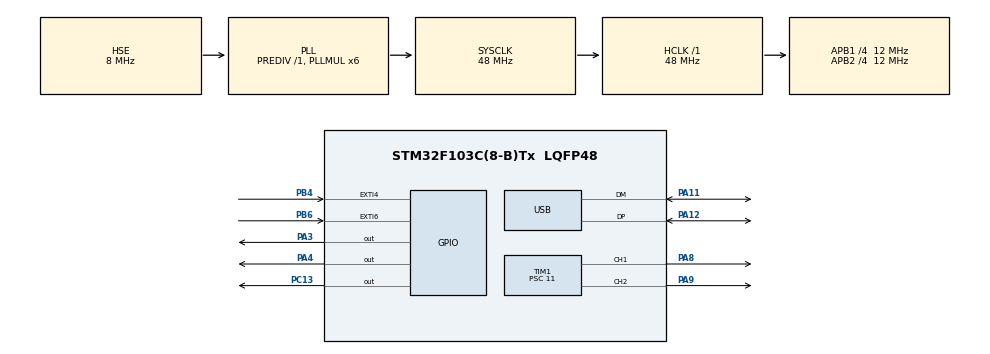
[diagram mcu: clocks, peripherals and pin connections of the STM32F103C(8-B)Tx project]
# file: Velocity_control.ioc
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Mcu.Family=STM32F1
Mcu.Name=STM32F103C(8-B)Tx
Mcu.Package=LQFP48
NVIC.EXTI4_IRQn=true\:0\:0\:false\:false\:true\:true\:true\:true
NVIC.EXTI9_5_IRQn=true\:0\:0\:false\:false\:true\:true\:true\:true
NVIC.PriorityGroup=NVIC_PRIORITYGROUP_4
NVIC.TIM3_IRQn=true\:2\:0\:true\:false\:true\:true\:true\:true
NVIC.TIM4_IRQn=true\:1\:0\:true\:false\:true\:true\:true\:true
NVIC.USB_LP_CAN1_RX0_IRQn=true\:0\:0\:false\:false\:true\:false\:true\:true
PA11.Mode=Device
PA11.Signal=USB_DM
PA12.Mode=Device
PA12.Signal=USB_DP
PA13.Mode=Serial_Wire
PA13.Signal=SYS_JTMS-SWDIO
PA14.Mode=Serial_Wire
PA14.Signal=SYS_JTCK-SWCLK
PA3.Signal=GPIO_Output
PA4.Signal=GPIO_Output
PA8.Signal=S_TIM1_CH1
PA9.Signal=S_TIM1_CH2
PB4.GPIO_ModeDefaultEXTI=GPIO_MODE_IT_RISING_FALLING
PB4.GPIO_PuPd=GPIO_PULLUP
PB4.Signal=GPXTI4
PB6.GPIO_ModeDefaultEXTI=GPIO_MODE_IT_RISING_FALLING
PB6.GPIO_PuPd=GPIO_PULLUP
PB6.Signal=GPXTI6
PC13-TAMPER-RTC.Signal=GPIO_Output
PD0-OSC_IN.Mode=HSE-External-Oscillator
PD0-OSC_IN.Signal=RCC_OSC_IN
PD1-OSC_OUT.Mode=HSE-External-Oscillator
PD1-OSC_OUT.Signal=RCC_OSC_OUT
ProjectManager.HeapSize=0x200
ProjectManager.StackSize=0x400
ProjectManager.TargetToolchain=MDK-ARM V5.32
RCC.AHBFreq_Value=48000000
RCC.APB1CLKDivider=RCC_HCLK_DIV4
RCC.APB1Freq_Value=12000000
RCC.APB1TimFreq_Value=24000000
RCC.APB2CLKDivider=RCC_HCLK_DIV4
RCC.APB2Freq_Value=12000000
RCC.APB2TimFreq_Value=24000000
RCC.HCLKFreq_Value=48000000
RCC.PLLMUL=RCC_PLL_MUL6
RCC.PLLSourceVirtual=RCC_PLLSOURCE_HSE
RCC.SYSCLKFreq_VALUE=48000000
RCC.SYSCLKSource=RCC_SYSCLKSOURCE_PLLCLK
RCC.USBFreq_Value=48000000
SH.S_TIM1_CH1.0=TIM1_CH1,PWM Generation1 CH1
SH.S_TIM1_CH2.0=TIM1_CH2,PWM Generation2 CH2
TIM1.Channel-PWM\ Generation1\ CH1=TIM_CHANNEL_1
TIM1.Channel-PWM\ Generation2\ CH2=TIM_CHANNEL_2
TIM1.Period=100
TIM1.Prescaler=11
TIM3.Period=4
TIM3.Prescaler=23999
TIM4.Period=9
TIM4.Prescaler=23999
USB_DEVICE.CLASS_NAME_FS=CDC
USB_DEVICE.VirtualMode=Cdc
USB_DEVICE.VirtualModeFS=Cdc_FS
VP_TIM3_VS_ClockSourceINT.Mode=Internal
VP_TIM4_VS_ClockSourceINT.Mode=Internal
VP_USB_DEVICE_VS_USB_DEVICE_CDC_FS.Mode=CDC_FS
board=custom

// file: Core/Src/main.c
/* USER CODE BEGIN Header */
/**
  ******************************************************************************
  * @file           : main.c
  * @brief          : Main program body
  ******************************************************************************
  * @attention
  *
  * Copyright (c) 2023 STMicroelectronics.
  * All rights reserved.
  *
  * This software is licensed under terms that can be found in the LICENSE file
  * in the root directory of this software component.
  * If no LICENSE file comes with this software, it is provided AS-IS.
  *
  ******************************************************************************
  */
/* USER CODE END Header */
#include "main.h"
#include "usb_device.h"

/* USER CODE BEGIN Includes */
#include "usbd_cdc_if.h"
#include "stdbool.h"
/* USER CODE END Includes */

/* USER CODE BEGIN PD */
#define UPDATE_PERIOD			0.005		/* Chu ki cap nhat: 5ms = ngat timer 4 */
#define PULSES_IN_ROUND		249.6		/* So xung tren 1 vong cua dong co = 13 xung x ti so truyen 19.2 */
/* USER CODE END PD */

TIM_HandleTypeDef htim1;
TIM_HandleTypeDef htim3;
TIM_HandleTypeDef htim4;

/* USER CODE BEGIN PV */
uint8_t buffer[64];
uint8_t run;
int16_t DesiredSpeed;
float DesiredVel;
char Rx_data[2];
char Rx_Buffer[20];
char Rx_indx;

int16_t pwm1;
int16_t pwm2;

/* Parameter of PIController */
float 		Kp 							= 0.321949254;				/* Ti le */
float 		Ki 							= 5.970149254;				/* Tich phan */
float 		Kd 							= 0.0;								/* Vi phan */
float			Kb 							= 18.54375863;				/* Dung cho Anti-windup */

int32_t 	UHiLim 					= 100;								/* Gioi han tren pwm */
int32_t 	ULoLim 					= 0;									/* Gioi han duoi pwm */

uint8_t 	PreviousState 	= 0;							/* Trang thai encoder chu ki truoc */
int16_t 	CountValue  		= 0;							/* Bien dem encoder => tinh vi tri */
int32_t 	PosCnt  				= 0;							/* Bien dem so vong quay => tinh vi tri */
uint16_t 	VelCnt      		= 0;							/* Bien dem encoder => tinh van toc */
uint16_t 	VelTemp      		= 0;							/* Bien dem encoder => tinh van toc */

/* Parameter of HAL_TIM_PeriodElapsedCallback */
float 		CurrVel 				= 0;	 		/* Van toc hien tai (Rad/s) */
int16_t 	CurrSpeed	 			= 0;	 		/* Van toc hien tai (RPM) */
uint8_t 	dir							= 0;			/* Chieu quay banh trai */
uint16_t 	tick							= 0;			/* Dung de dem cho timer 5 */

/* USER CODE END PV */

void SystemClock_Config(void);
static void MX_GPIO_Init(void);
static void MX_TIM1_Init(void);
static void MX_TIM3_Init(void);
static void MX_TIM4_Init(void);

/* USER CODE BEGIN 0 */

/* ======================================================================================= USB printf ======================================================================================= */
struct __FILE
{
  int handle;
  /* Whatever you require here. If the only file you are using is */
  /* standard output using printf() for debugging, no file handling */
  /* is required. */
};
/* FILE is typedef'd in stdio.h. */
FILE __stdout;
int fputc(int ch, FILE *f)
{
    while(!(CDC_Transmit_FS((uint8_t*)&ch, 1) == USBD_OK))
        ;
    return ch;
}
/* ======================================================================================= End USB printf ======================================================================================= */

/* ================================================================================ PI Controller +(Anti-windup) ================================================================================ */
int32_t PIController(float desired_val, float real_val, float gain, float Ki, float Kb, int uHiLim, int uLoLim)
{
		/* Controller values */
		static float err_reset;
		static float uI_p;
		float err, uP, uI;
		int uOut;

		/* Algorithm */
		err = (desired_val - real_val);
			/* Proportional */
		uP = gain * err;
			/* Integral (with Anti-windup) */
		uI = uI_p + (Ki * UPDATE_PERIOD *err) + Kb * UPDATE_PERIOD * err_reset;
			/* Integral part */
		uI_p = uI;
			/* Output control */
		uOut = (int)(uP + uI);
			/* Output saturation */
		if(uOut >= uHiLim)
		{
			err_reset = uHiLim - uOut;
			uOut = uHiLim;
		}
		else if(uOut <= uLoLim)
		{
			err_reset = uLoLim - uOut;
			uOut = uLoLim;
		}
		return uOut;
}
/* ============================================================================== End PI Controller +(Anti-windup) ============================================================================== */

/* ================================================================================ Motor Control ================================================================================ */
void MotorRot(int32_t pwmSet)
{
	if (pwmSet > 0) {
		HAL_GPIO_WritePin(GPIOA, GPIO_PIN_3, 1);
		HAL_GPIO_WritePin(GPIOA, GPIO_PIN_4, 1);
		__HAL_TIM_SetCompare(&htim1, TIM_CHANNEL_1, 0);
		__HAL_TIM_SetCompare(&htim1, TIM_CHANNEL_2, pwmSet);
	}
	else if (pwmSet < 0) {
		HAL_GPIO_WritePin(GPIOA, GPIO_PIN_3, 1);
		HAL_GPIO_WritePin(GPIOA, GPIO_PIN_4, 1);
		__HAL_TIM_SetCompare(&htim1, TIM_CHANNEL_1,-pwmSet);
		__HAL_TIM_SetCompare(&htim1, TIM_CHANNEL_2, 0);
	}
	else{
		HAL_GPIO_WritePin(GPIOA, GPIO_PIN_3, 0);
		HAL_GPIO_WritePin(GPIOA, GPIO_PIN_4, 0);
	}

}
/* ============================================================================== End Motor Control ============================================================================== */

/* USER CODE END 0 */

int main(void)
{

  /* MCU Configuration--------------------------------------------------------*/

  /* Reset of all peripherals, Initializes the Flash interface and the Systick. */
  HAL_Init();

  /* Configure the system clock */
  SystemClock_Config();

  /* Initialize all configured peripherals */
  MX_GPIO_Init();
  MX_TIM1_Init();
  MX_TIM3_Init();
  MX_TIM4_Init();
  MX_USB_DEVICE_Init();
  /* USER CODE BEGIN 2 */
	HAL_TIM_PWM_Start(&htim1, TIM_CHANNEL_1);	// khoi tao timer 1
	HAL_TIM_PWM_Start(&htim1, TIM_CHANNEL_2);	// khoi tao timer 1
	HAL_TIM_Base_Start_IT(&htim3);						// khoi tao timer 3
	HAL_TIM_Base_Start_IT(&htim4);						// khoi tao timer 4

  /* USER CODE END 2 */

  /* Infinite loop */
  while (1)
  {

  }
}

void SystemClock_Config(void)
{
  RCC_OscInitTypeDef RCC_OscInitStruct = {0};
  RCC_ClkInitTypeDef RCC_ClkInitStruct = {0};
  RCC_PeriphCLKInitTypeDef PeriphClkInit = {0};

  /** Initializes the RCC Oscillators according to the specified parameters
  * in the RCC_OscInitTypeDef structure.
  */
  RCC_OscInitStruct.OscillatorType = RCC_OSCILLATORTYPE_HSE;
  RCC_OscInitStruct.HSEState = RCC_HSE_ON;
  RCC_OscInitStruct.HSEPredivValue = RCC_HSE_PREDIV_DIV1;
  RCC_OscInitStruct.HSIState = RCC_HSI_ON;
  RCC_OscInitStruct.PLL.PLLState = RCC_PLL_ON;
  RCC_OscInitStruct.PLL.PLLSource = RCC_PLLSOURCE_HSE;
  RCC_OscInitStruct.PLL.PLLMUL = RCC_PLL_MUL6;
  if (HAL_RCC_OscConfig(&RCC_OscInitStruct) != HAL_OK)
  {
    Error_Handler();
  }

  /** Initializes the CPU, AHB and APB buses clocks
  */
  RCC_ClkInitStruct.ClockType = RCC_CLOCKTYPE_HCLK|RCC_CLOCKTYPE_SYSCLK
                              |RCC_CLOCKTYPE_PCLK1|RCC_CLOCKTYPE_PCLK2;
  RCC_ClkInitStruct.SYSCLKSource = RCC_SYSCLKSOURCE_PLLCLK;
  RCC_ClkInitStruct.AHBCLKDivider = RCC_SYSCLK_DIV1;
  RCC_ClkInitStruct.APB1CLKDivider = RCC_HCLK_DIV4;
  RCC_ClkInitStruct.APB2CLKDivider = RCC_HCLK_DIV4;

  if (HAL_RCC_ClockConfig(&RCC_ClkInitStruct, FLASH_LATENCY_1) != HAL_OK)
  {
    Error_Handler();
  }
  PeriphClkInit.PeriphClockSelection = RCC_PERIPHCLK_USB;
  PeriphClkInit.UsbClockSelection = RCC_USBCLKSOURCE_PLL;
  if (HAL_RCCEx_PeriphCLKConfig(&PeriphClkInit) != HAL_OK)
  {
    Error_Handler();
  }
}

static void MX_TIM1_Init(void)
{

  TIM_MasterConfigTypeDef sMasterConfig = {0};
  TIM_OC_InitTypeDef sConfigOC = {0};
  TIM_BreakDeadTimeConfigTypeDef sBreakDeadTimeConfig = {0};

  htim1.Instance = TIM1;
  htim1.Init.Prescaler = 11;
  htim1.Init.CounterMode = TIM_COUNTERMODE_UP;
  htim1.Init.Period = 100;
  htim1.Init.ClockDivision = TIM_CLOCKDIVISION_DIV1;
  htim1.Init.RepetitionCounter = 0;
  htim1.Init.AutoReloadPreload = TIM_AUTORELOAD_PRELOAD_DISABLE;
  if (HAL_TIM_PWM_Init(&htim1) != HAL_OK)
  {
    Error_Handler();
  }
  sMasterConfig.MasterOutputTrigger = TIM_TRGO_RESET;
  sMasterConfig.MasterSlaveMode = TIM_MASTERSLAVEMODE_DISABLE;
  if (HAL_TIMEx_MasterConfigSynchronization(&htim1, &sMasterConfig) != HAL_OK)
  {
    Error_Handler();
  }
  sConfigOC.OCMode = TIM_OCMODE_PWM1;
  sConfigOC.Pulse = 0;
  sConfigOC.OCPolarity = TIM_OCPOLARITY_HIGH;
  sConfigOC.OCNPolarity = TIM_OCNPOLARITY_HIGH;
  sConfigOC.OCFastMode = TIM_OCFAST_DISABLE;
  sConfigOC.OCIdleState = TIM_OCIDLESTATE_RESET;
  sConfigOC.OCNIdleState = TIM_OCNIDLESTATE_RESET;
  if (HAL_TIM_PWM_ConfigChannel(&htim1, &sConfigOC, TIM_CHANNEL_1) != HAL_OK)
  {
    Error_Handler();
  }
  if (HAL_TIM_PWM_ConfigChannel(&htim1, &sConfigOC, TIM_CHANNEL_2) != HAL_OK)
  {
    Error_Handler();
  }
  sBreakDeadTimeConfig.OffStateRunMode = TIM_OSSR_DISABLE;
  sBreakDeadTimeConfig.OffStateIDLEMode = TIM_OSSI_DISABLE;
  sBreakDeadTimeConfig.LockLevel = TIM_LOCKLEVEL_OFF;
  sBreakDeadTimeConfig.DeadTime = 0;
  sBreakDeadTimeConfig.BreakState = TIM_BREAK_DISABLE;
  sBreakDeadTimeConfig.BreakPolarity = TIM_BREAKPOLARITY_HIGH;
  sBreakDeadTimeConfig.AutomaticOutput = TIM_AUTOMATICOUTPUT_DISABLE;
  if (HAL_TIMEx_ConfigBreakDeadTime(&htim1, &sBreakDeadTimeConfig) != HAL_OK)
  {
    Error_Handler();
  }
  HAL_TIM_MspPostInit(&htim1);

}

static void MX_TIM3_Init(void)
{

  TIM_ClockConfigTypeDef sClockSourceConfig = {0};
  TIM_MasterConfigTypeDef sMasterConfig = {0};

  htim3.Instance = TIM3;
  htim3.Init.Prescaler = 23999;
  htim3.Init.CounterMode = TIM_COUNTERMODE_UP;
  htim3.Init.Period = 4;
  htim3.Init.ClockDivision = TIM_CLOCKDIVISION_DIV1;
  htim3.Init.AutoReloadPreload = TIM_AUTORELOAD_PRELOAD_DISABLE;
  if (HAL_TIM_Base_Init(&htim3) != HAL_OK)
  {
    Error_Handler();
  }
  sClockSourceConfig.ClockSource = TIM_CLOCKSOURCE_INTERNAL;
  if (HAL_TIM_ConfigClockSource(&htim3, &sClockSourceConfig) != HAL_OK)
  {
    Error_Handler();
  }
  sMasterConfig.MasterOutputTrigger = TIM_TRGO_RESET;
  sMasterConfig.MasterSlaveMode = TIM_MASTERSLAVEMODE_DISABLE;
  if (HAL_TIMEx_MasterConfigSynchronization(&htim3, &sMasterConfig) != HAL_OK)
  {
    Error_Handler();
  }

}

static void MX_TIM4_Init(void)
{

  TIM_ClockConfigTypeDef sClockSourceConfig = {0};
  TIM_MasterConfigTypeDef sMasterConfig = {0};

  htim4.Instance = TIM4;
  htim4.Init.Prescaler = 23999;
  htim4.Init.CounterMode = TIM_COUNTERMODE_UP;
  htim4.Init.Period = 9;
  htim4.Init.ClockDivision = TIM_CLOCKDIVISION_DIV1;
  htim4.Init.AutoReloadPreload = TIM_AUTORELOAD_PRELOAD_DISABLE;
  if (HAL_TIM_Base_Init(&htim4) != HAL_OK)
  {
    Error_Handler();
  }
  sClockSourceConfig.ClockSource = TIM_CLOCKSOURCE_INTERNAL;
  if (HAL_TIM_ConfigClockSource(&htim4, &sClockSourceConfig) != HAL_OK)
  {
    Error_Handler();
  }
  sMasterConfig.MasterOutputTrigger = TIM_TRGO_RESET;
  sMasterConfig.MasterSlaveMode = TIM_MASTERSLAVEMODE_DISABLE;
  if (HAL_TIMEx_MasterConfigSynchronization(&htim4, &sMasterConfig) != HAL_OK)
  {
    Error_Handler();
  }

}

static void MX_GPIO_Init(void)
{
  GPIO_InitTypeDef GPIO_InitStruct = {0};

  /* GPIO Ports Clock Enable */
  __HAL_RCC_GPIOC_CLK_ENABLE();
  __HAL_RCC_GPIOD_CLK_ENABLE();
  __HAL_RCC_GPIOA_CLK_ENABLE();
  __HAL_RCC_GPIOB_CLK_ENABLE();

  /*Configure GPIO pin Output Level */
  HAL_GPIO_WritePin(GPIOC, GPIO_PIN_13, GPIO_PIN_RESET);

  /*Configure GPIO pin Output Level */
  HAL_GPIO_WritePin(GPIOA, GPIO_PIN_3|GPIO_PIN_4, GPIO_PIN_RESET);

  /*Configure GPIO pin : PC13 */
  GPIO_InitStruct.Pin = GPIO_PIN_13;
  GPIO_InitStruct.Mode = GPIO_MODE_OUTPUT_PP;
  GPIO_InitStruct.Pull = GPIO_NOPULL;
  GPIO_InitStruct.Speed = GPIO_SPEED_FREQ_LOW;
  HAL_GPIO_Init(GPIOC, &GPIO_InitStruct);

  /*Configure GPIO pins : PA3 PA4 */
  GPIO_InitStruct.Pin = GPIO_PIN_3|GPIO_PIN_4;
  GPIO_InitStruct.Mode = GPIO_MODE_OUTPUT_PP;
  GPIO_InitStruct.Pull = GPIO_NOPULL;
  GPIO_InitStruct.Speed = GPIO_SPEED_FREQ_LOW;
  HAL_GPIO_Init(GPIOA, &GPIO_InitStruct);

  /*Configure GPIO pins : PB4 PB6 */
  GPIO_InitStruct.Pin = GPIO_PIN_4|GPIO_PIN_6;
  GPIO_InitStruct.Mode = GPIO_MODE_IT_RISING_FALLING;
  GPIO_InitStruct.Pull = GPIO_PULLUP;
  HAL_GPIO_Init(GPIOB, &GPIO_InitStruct);

  /* EXTI interrupt init*/
  HAL_NVIC_SetPriority(EXTI4_IRQn, 0, 0);
  HAL_NVIC_EnableIRQ(EXTI4_IRQn);

  HAL_NVIC_SetPriority(EXTI9_5_IRQn, 0, 0);
  HAL_NVIC_EnableIRQ(EXTI9_5_IRQn);

}

/* USER CODE BEGIN 4 */

/* ========================================================================= Read Encoder ========================================================================= */
void HAL_GPIO_EXTI_Callback(uint16_t GPIO_Pin)
{
	/* ENC_CHA RIGHT MOTOR */
	if(GPIO_Pin == GPIO_PIN_4)
	{
		unsigned char StateA;
		StateA = (StateA<<1) | HAL_GPIO_ReadPin(GPIOB, GPIO_PIN_4);
		StateA = (StateA<<1) | HAL_GPIO_ReadPin(GPIOB, GPIO_PIN_6);
		StateA = StateA&0x03;
		switch (StateA) {
			case 0:
				if(PreviousState==1) CountValue++;
				else CountValue--;
			break;
			case 1:
				if(PreviousState==3) CountValue++;
				else CountValue--;
			break;
			case 2:
				if(PreviousState==0) CountValue++;
				else CountValue--;
			break;
			case 3:
				if(PreviousState==2) CountValue++;
				else CountValue--;
			break;
			}
		PreviousState = StateA;
		VelCnt++;
		if (CountValue>=4*PULSES_IN_ROUND) {
			CountValue = 0;
			PosCnt++;
		}
		else if	(CountValue<=-4*PULSES_IN_ROUND) {
			CountValue = 0;
			PosCnt--;
		}
	}

	/* ENC_CHB RIGHT MOTOR */
	if(GPIO_Pin == GPIO_PIN_6)
	{
		unsigned char StateB;
		StateB = (StateB<<1) | HAL_GPIO_ReadPin(GPIOB, GPIO_PIN_4);
		StateB = (StateB<<1) | HAL_GPIO_ReadPin(GPIOB, GPIO_PIN_6);
		StateB = StateB&0x03;
		switch (StateB) {
			case 0:
				if(PreviousState==1) CountValue++;
				else CountValue--;
			break;
			case 1:
				if(PreviousState==3) CountValue++;
				else CountValue--;
			break;
			case 2:
				if(PreviousState==0) CountValue++;
				else CountValue--;
			break;
			case 3:
				if(PreviousState==2) CountValue++;
				else CountValue--;
			break;
			}
		PreviousState = StateB;
		VelCnt++;
		if (CountValue>=4*PULSES_IN_ROUND) {
			CountValue = 0;
			PosCnt++;
		}
		else if	(CountValue<=-4*PULSES_IN_ROUND) {
			CountValue = 0;
			PosCnt--;
		}
	}
}
/* ========================================================================= End Read Encoder ========================================================================= */

/* ====================================================================== Timer Interrupt ====================================================================== */
void HAL_TIM_PeriodElapsedCallback(TIM_HandleTypeDef *htim) {

	if(htim->Instance==TIM3)																												/* Ngat timer 3: 5ms */
	{

		VelTemp		 	= VelCnt;																													/* Gan bien dem van toc vao bien tam */
		VelCnt 			= 0;																															/* Reset bien dem van toc */
		CurrSpeed 	= 60*VelTemp/(4*PULSES_IN_ROUND*UPDATE_PERIOD);																			/* RPM */
		CurrVel 		= 2*3.1415*VelTemp/(4*PULSES_IN_ROUND*UPDATE_PERIOD);																/* rad/s */

		pwm1 = PIController(DesiredVel, CurrVel, Kp, Ki, Kb, UHiLim, ULoLim);

		if (run ==true) {
			MotorRot(pwm1);
		}

		return;
	}

	if(htim->Instance==TIM4)																												/* Ngat timer 4: 10ms */
	{
		tick++;
		if (tick==5){																									/* 10ms x 5 */
			tick = 0;
			printf("V%d\r \n",CurrSpeed);
		}
	}
}
/* ====================================================================== End Timer Interrupt ====================================================================== */
/* USER CODE END 4 */

void Error_Handler(void)
{
  __disable_irq();
  while (1)
  {
  }
}
